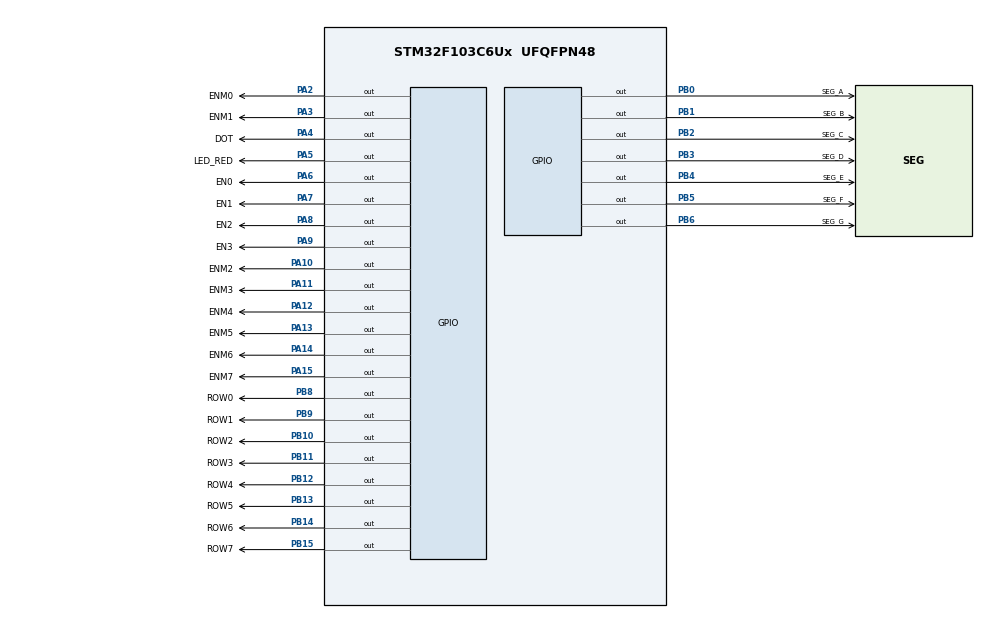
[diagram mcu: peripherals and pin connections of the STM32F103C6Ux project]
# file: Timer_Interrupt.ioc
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Mcu.Family=STM32F1
Mcu.Name=STM32F103C6Ux
Mcu.Package=UFQFPN48
NVIC.PriorityGroup=NVIC_PRIORITYGROUP_4
NVIC.TIM2_IRQn=true\:0\:0\:false\:false\:true\:true\:true\:true
PA10.GPIO_Label=ENM2
PA10.Signal=GPIO_Output
PA11.GPIO_Label=ENM3
PA11.Signal=GPIO_Output
PA12.GPIO_Label=ENM4
PA12.Signal=GPIO_Output
PA13.GPIO_Label=ENM5
PA13.Signal=GPIO_Output
PA14.GPIO_Label=ENM6
PA14.Signal=GPIO_Output
PA15.GPIO_Label=ENM7
PA15.Signal=GPIO_Output
PA2.GPIO_Label=ENM0
PA2.Signal=GPIO_Output
PA3.GPIO_Label=ENM1
PA3.Signal=GPIO_Output
PA4.GPIO_Label=DOT
PA4.Signal=GPIO_Output
PA5.GPIO_Label=LED_RED
PA5.Signal=GPIO_Output
PA6.GPIO_Label=EN0
PA6.Signal=GPIO_Output
PA7.GPIO_Label=EN1
PA7.Signal=GPIO_Output
PA8.GPIO_Label=EN2
PA8.Signal=GPIO_Output
PA9.GPIO_Label=EN3
PA9.Signal=GPIO_Output
PB0.GPIO_Label=SEG_A
PB0.Signal=GPIO_Output
PB1.GPIO_Label=SEG_B
PB1.Signal=GPIO_Output
PB10.GPIO_Label=ROW2
PB10.Signal=GPIO_Output
PB11.GPIO_Label=ROW3
PB11.Signal=GPIO_Output
PB12.GPIO_Label=ROW4
PB12.Signal=GPIO_Output
PB13.GPIO_Label=ROW5
PB13.Signal=GPIO_Output
PB14.GPIO_Label=ROW6
PB14.Signal=GPIO_Output
PB15.GPIO_Label=ROW7
PB15.Signal=GPIO_Output
PB2.GPIO_Label=SEG_C
PB2.Signal=GPIO_Output
PB3.GPIO_Label=SEG_D
PB3.Signal=GPIO_Output
PB4.GPIO_Label=SEG_E
PB4.Signal=GPIO_Output
PB5.GPIO_Label=SEG_F
PB5.Signal=GPIO_Output
PB6.GPIO_Label=SEG_G
PB6.Signal=GPIO_Output
PB8.GPIO_Label=ROW0
PB8.Signal=GPIO_Output
PB9.GPIO_Label=ROW1
PB9.Signal=GPIO_Output
ProjectManager.HeapSize=0x200
ProjectManager.StackSize=0x400
ProjectManager.TargetToolchain=STM32CubeIDE
RCC.APB1Freq_Value=8000000
RCC.APB2Freq_Value=8000000
TIM2.Period=9
TIM2.Prescaler=7999
VP_SYS_VS_ND.Mode=No_Debug
VP_TIM2_VS_ClockSourceINT.Mode=Internal
board=custom

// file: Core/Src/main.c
/* USER CODE BEGIN Header */
/**
  ******************************************************************************
  * @file           : main.c
  * @brief          : Main program body
  ******************************************************************************
  * @attention
  *
  * Copyright (c) 2022 STMicroelectronics.
  * All rights reserved.
  *
  * This software is licensed under terms that can be found in the LICENSE file
  * in the root directory of this software component.
  * If no LICENSE file comes with this software, it is provided AS-IS.
  *
  ******************************************************************************
  */
/* USER CODE END Header */
#include "main.h"
#include "tim.h"
#include "gpio.h"

/* USER CODE BEGIN Includes */
#include "software_timer.h"
/* USER CODE END Includes */

/* USER CODE BEGIN PD */
// Delay time
#define	DELAY_TIME			10 // 10ms delay

// Number of 7SEG LEDs
#define MAX_LED 			4

#define MAX_LED_MATRIX 		8

// Seven segment
#define NUM_OF_7SEG_VALUES	10

// Counter max value
#define COUNTER_MAX			255 // 8-bit counter

// Number display on each LED
#define LED_1_DISPLAY 		1
#define LED_2_DISPLAY 		2
#define LED_3_DISPLAY 		3
#define LED_4_DISPLAY 		0
/* USER CODE END PD */

/* USER CODE BEGIN PV */
const uint8_t sevenSegValue[NUM_OF_7SEG_VALUES] = {
	0x40, // 0
	0x79, // 1
	0x24, // 2
	0x30, // 3
	0x19, // 4
	0x12, // 5
	0x02, // 6
	0x78, // 7
	0x00, // 8
	0x10, // 9
};

const uint8_t sevenSegEnable[MAX_LED] = {
	0x0e, // EN0
	0x0d, // EN1
	0x0b, // EN2
	0x07  // EN3
};

const uint8_t matrixColEnable[MAX_LED_MATRIX] = {
	0xfe,
	0xfd,
	0xfb,
	0xf7,
	0xef,
	0xdf,
	0xbf,
	0x7f
};

GPIO_TypeDef * LEDMatrixRowPort[MAX_LED_MATRIX] = {
	ROW0_GPIO_Port,
	ROW1_GPIO_Port,
	ROW2_GPIO_Port,
	ROW3_GPIO_Port,
	ROW4_GPIO_Port,
	ROW5_GPIO_Port,
	ROW6_GPIO_Port,
	ROW7_GPIO_Port
};

const uint16_t LEDMatrixRowPin[MAX_LED_MATRIX] = {
	ROW0_Pin,
	ROW1_Pin,
	ROW2_Pin,
	ROW3_Pin,
	ROW4_Pin,
	ROW5_Pin,
	ROW6_Pin,
	ROW7_Pin
};

GPIO_TypeDef * LEDMatrixColPort[MAX_LED_MATRIX] = {
	ENM0_GPIO_Port,
	ENM1_GPIO_Port,
	ENM2_GPIO_Port,
	ENM3_GPIO_Port,
	ENM4_GPIO_Port,
	ENM5_GPIO_Port,
	ENM6_GPIO_Port,
	ENM7_GPIO_Port
};

const uint16_t LEDMatrixColPin[MAX_LED_MATRIX] = {
	ENM0_Pin,
	ENM1_Pin,
	ENM2_Pin,
	ENM3_Pin,
	ENM4_Pin,
	ENM5_Pin,
	ENM6_Pin,
	ENM7_Pin
};

int led_buffer[MAX_LED] = {2, 0, 0, 2};

uint8_t matrix_buffer[MAX_LED_MATRIX] = {0xff, 0x80, 0x77, 0x77, 0x77, 0x77, 0x80, 0xff};

static int led_index = 0;
static int led_matrix_index = 0;
static int second = 20, minute = 32, hour = 14;
// for exercise 1 to 3, switchPeriod = 500ms
static int switchPeriod = 250; // in ms
static int dotPeriod = 500; // in ms
static int oneSecond = 1000; // in ms
static int matrixScan = 50; // in ms
static int animationPeriod = 1000; // in ms
/* USER CODE END PV */

void SystemClock_Config(void);
/* USER CODE BEGIN PFP */
void setupDelay(void);
void toggleDot(void);
void display7SEG(int num);
void enable7SEG(int num);
void update7SEG(int index);
void displayLEDMatrixCol(int num);
void enableLEDMatrixCol(int num);
void updateLEDMatrix(int index);
void updateClockBuffer();
void updateAnimationBuffer();
void exercise1(void);
void exercise2(void);
/* USER CODE END PFP */

/* USER CODE BEGIN 0 */
void setupDelay(void) {
	if(DELAY_TIME) {
		switchPeriod /= DELAY_TIME;
		dotPeriod /= DELAY_TIME;
		oneSecond /= DELAY_TIME;
		matrixScan /= DELAY_TIME;
		animationPeriod /= DELAY_TIME;
	}
}

void toggleDot() {
	HAL_GPIO_TogglePin(DOT_GPIO_Port, DOT_Pin);
}

void display7SEG(int num) {
	uint8_t index = 0;
	HAL_GPIO_WritePin(SEG_A_GPIO_Port, SEG_A_Pin, (sevenSegValue[num] >> index++) & 0x01);
	HAL_GPIO_WritePin(SEG_B_GPIO_Port, SEG_B_Pin, (sevenSegValue[num] >> index++) & 0x01);
	HAL_GPIO_WritePin(SEG_C_GPIO_Port, SEG_C_Pin, (sevenSegValue[num] >> index++) & 0x01);
	HAL_GPIO_WritePin(SEG_D_GPIO_Port, SEG_D_Pin, (sevenSegValue[num] >> index++) & 0x01);
	HAL_GPIO_WritePin(SEG_E_GPIO_Port, SEG_E_Pin, (sevenSegValue[num] >> index++) & 0x01);
	HAL_GPIO_WritePin(SEG_F_GPIO_Port, SEG_F_Pin, (sevenSegValue[num] >> index++) & 0x01);
	HAL_GPIO_WritePin(SEG_G_GPIO_Port, SEG_G_Pin, (sevenSegValue[num] >> index) & 0x01);
}

void enable7SEG(int num) {
	uint8_t index = 0;
	HAL_GPIO_WritePin(EN0_GPIO_Port, EN0_Pin, (sevenSegEnable[num] >> index++) & 0x01);
	HAL_GPIO_WritePin(EN1_GPIO_Port, EN1_Pin, (sevenSegEnable[num] >> index++) & 0x01);
	HAL_GPIO_WritePin(EN2_GPIO_Port, EN2_Pin, (sevenSegEnable[num] >> index++) & 0x01);
	HAL_GPIO_WritePin(EN3_GPIO_Port, EN3_Pin, (sevenSegEnable[num] >> index) & 0x01);
}

void update7SEG(int index) {
	switch(index) {
	case 0:
		enable7SEG(index);
		display7SEG(led_buffer[index]);
		break;
	case 1:
		enable7SEG(index);
		display7SEG(led_buffer[index]);
		break;
	case 2:
		enable7SEG(index);
		display7SEG(led_buffer[index]);
		break;
	case 3:
		enable7SEG(index);
		display7SEG(led_buffer[index]);
		break;
	default: break;
	}
}

void displayLEDMatrixCol(int num) {
	for(int i = 0; i < MAX_LED_MATRIX; i++) {
		HAL_GPIO_WritePin(LEDMatrixRowPort[i], LEDMatrixRowPin[i], (matrix_buffer[num] >> i) & 0x01);
	}
}

void enableLEDMatrixCol(int num) {
	for(int i = 0; i < MAX_LED_MATRIX; i++) {
		HAL_GPIO_WritePin(LEDMatrixColPort[i], LEDMatrixColPin[i], (matrixColEnable[num] >> i) & 0x01);
	}
}

void updateLEDMatrix(int index) {
	switch (index){
		case 0:
			enableLEDMatrixCol(index);
			displayLEDMatrixCol(index);
			break;
		case 1:
			enableLEDMatrixCol(index);
			displayLEDMatrixCol(index);
			break;
		case 2:
			enableLEDMatrixCol(index);
			displayLEDMatrixCol(index);
			break;
		case 3:
			enableLEDMatrixCol(index);
			displayLEDMatrixCol(index);
			break;
		case 4:
			enableLEDMatrixCol(index);
			displayLEDMatrixCol(index);
			break;
		case 5:
			enableLEDMatrixCol(index);
			displayLEDMatrixCol(index);
			break;
		case 6:
			enableLEDMatrixCol(index);
			displayLEDMatrixCol(index);
			break;
		case 7:
			enableLEDMatrixCol(index);
			displayLEDMatrixCol(index);
			break;
		default:
			break;
	}
}

void updateClockBuffer(void) {
	led_buffer[0] = hour / 10;
	led_buffer[1] = hour % 10;
	led_buffer[2] = minute / 10;
	led_buffer[3] = minute % 10;
}

void updateAnimationBuffer() {
	uint8_t temp = matrix_buffer[0];
	for(int i = 0; i < MAX_LED_MATRIX - 1; i++) {
		matrix_buffer[i] = matrix_buffer[i + 1];
	}
	matrix_buffer[MAX_LED_MATRIX - 1] = temp;
}

void exercise1(void) {
	switch(led_index) {
	case 0:
		enable7SEG(led_index);
		display7SEG(LED_1_DISPLAY);
		led_index = 1;
		break;
	case 1:
		enable7SEG(led_index);
		display7SEG(LED_2_DISPLAY);
		led_index = 0;
		break;
	default: break;
	}
}

void exercise2(void) {
	switch(led_index) {
	case 0:
		enable7SEG(led_index);
		display7SEG(LED_1_DISPLAY);
		led_index = 1;
		break;
	case 1:
		enable7SEG(led_index);
		display7SEG(LED_2_DISPLAY);
		led_index = 2;
		break;
	case 2:
		enable7SEG(led_index);
		display7SEG(LED_3_DISPLAY);
		led_index = 3;
		break;
	case 3:
		enable7SEG(led_index);
		display7SEG(LED_4_DISPLAY);
		led_index = 0;
		break;
	default: break;
	}
}
/* USER CODE END 0 */

int main(void)
{

  /* MCU Configuration--------------------------------------------------------*/

  /* Reset of all peripherals, Initializes the Flash interface and the Systick. */
  HAL_Init();

  /* USER CODE BEGIN Init */
  setupDelay();
  setTimer1(1);
  setTimer2(animationPeriod);
  /* USER CODE END Init */

  /* Configure the system clock */
  SystemClock_Config();

  /* Initialize all configured peripherals */
  MX_GPIO_Init();
  MX_TIM2_Init();
  /* USER CODE BEGIN 2 */
  HAL_TIM_Base_Start_IT(&htim2);
  /* USER CODE END 2 */

  /* Infinite loop */
  /* USER CODE BEGIN WHILE */
  while (1)
  {
    if(timer1_flag == 1) {
    	setTimer1(matrixScan);
    	updateLEDMatrix(led_matrix_index++);
    	led_matrix_index %= MAX_LED_MATRIX;
    }

    if(timer2_flag == 1) {
    	setTimer2(animationPeriod);
    	updateAnimationBuffer();
    }

    /* Exercise 3 to 8
    if(timer1_flag == 1) {
    	setTimer1(switchPeriod);
    	update7SEG(led_index++);
    	led_index %= MAX_LED;
    }
    if(timer2_flag == 1) {
    	setTimer2(dotPeriod);
    	toggleDot();
    }

    if(timer3_flag == 1) {
    	setTimer3(oneSecond);
    	second++;
    	if(second >= 60) {
    		second = 0;
    		minute++;
    	}
    	if(minute >= 60) {
    		minute = 0;
    		hour++;
    	}
    	hour %= 24;
    	updateClockBuffer();
    }
    */
    /* USER CODE END WHILE */

  }
}

void SystemClock_Config(void)
{
  RCC_OscInitTypeDef RCC_OscInitStruct = {0};
  RCC_ClkInitTypeDef RCC_ClkInitStruct = {0};

  /** Initializes the RCC Oscillators according to the specified parameters
  * in the RCC_OscInitTypeDef structure.
  */
  RCC_OscInitStruct.OscillatorType = RCC_OSCILLATORTYPE_HSI;
  RCC_OscInitStruct.HSIState = RCC_HSI_ON;
  RCC_OscInitStruct.HSICalibrationValue = RCC_HSICALIBRATION_DEFAULT;
  RCC_OscInitStruct.PLL.PLLState = RCC_PLL_NONE;
  if (HAL_RCC_OscConfig(&RCC_OscInitStruct) != HAL_OK)
  {
    Error_Handler();
  }

  /** Initializes the CPU, AHB and APB buses clocks
  */
  RCC_ClkInitStruct.ClockType = RCC_CLOCKTYPE_HCLK|RCC_CLOCKTYPE_SYSCLK
                              |RCC_CLOCKTYPE_PCLK1|RCC_CLOCKTYPE_PCLK2;
  RCC_ClkInitStruct.SYSCLKSource = RCC_SYSCLKSOURCE_HSI;
  RCC_ClkInitStruct.AHBCLKDivider = RCC_SYSCLK_DIV1;
  RCC_ClkInitStruct.APB1CLKDivider = RCC_HCLK_DIV1;
  RCC_ClkInitStruct.APB2CLKDivider = RCC_HCLK_DIV1;

  if (HAL_RCC_ClockConfig(&RCC_ClkInitStruct, FLASH_LATENCY_0) != HAL_OK)
  {
    Error_Handler();
  }
}

/* USER CODE BEGIN 4 */
void HAL_TIM_PeriodElapsedCallback(TIM_HandleTypeDef *htim) {
	timerRun();
}
/* USER CODE END 4 */

void Error_Handler(void)
{
  __disable_irq();
  while (1)
  {
  }
}
